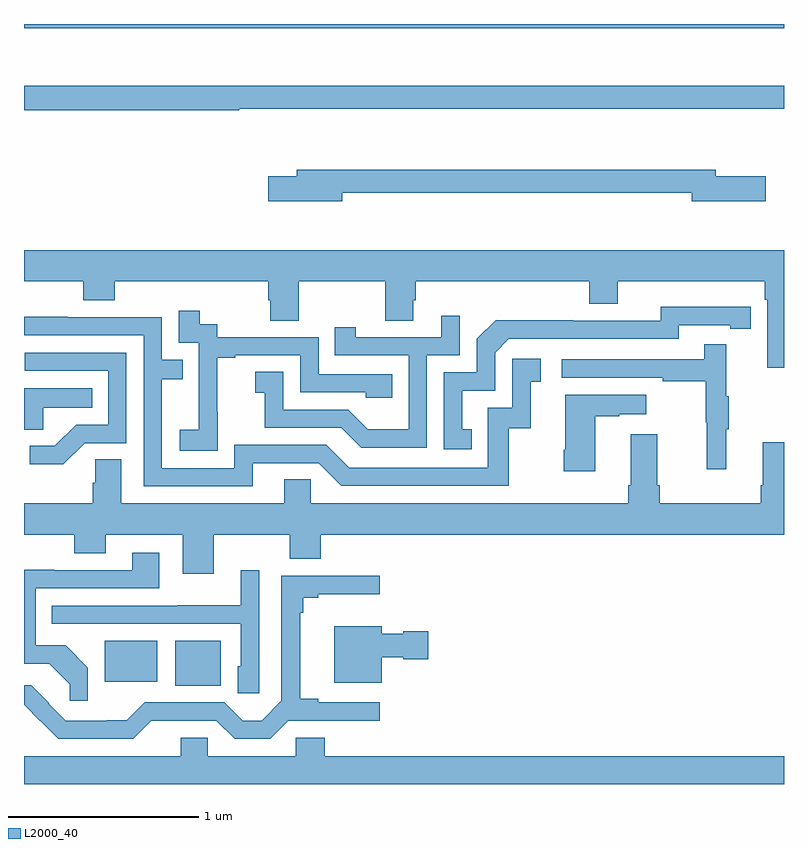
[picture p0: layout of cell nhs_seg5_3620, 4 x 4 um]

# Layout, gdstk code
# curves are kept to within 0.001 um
import gdstk
lib = gdstk.Library(unit=1e-6, precision=1e-09)
def R(c, l, rs):  # rectangles x0, y0, x1, y1
    for r in rs: c.add(gdstk.rectangle(r[:2], r[2:], *l))
def P(c, l, *ps):  # polygons
    for p in ps: c.add(gdstk.Polygon(p, *l))
L2000_40 = (2000, 40)

nhs_seg5_3620 = lib.new_cell('nhs_seg5_3620')
R(nhs_seg5_3620, L2000_40, [(325.796,837.317,326.035,837.553), (325.424,837.338,325.702,837.553), (325,840.776,329,840.799)])
P(nhs_seg5_3620, L2000_40, [(326.134,840.354),(329,840.354),(329,840.475),(325,840.475),(325,840.346),(326.134,840.346)],
  [(326.674,839.91),(328.514,839.91),(328.514,839.867),(328.903,839.867),(328.903,839.997),(328.642,839.997),(328.642,840.031),(326.435,840.031),(326.435,839.997),(326.286,839.997),(326.286,839.867),(326.674,839.867)],
  [(329,839.608),(325,839.608),(325,839.444),(325.313,839.444),(325.313,839.345),(325.478,839.345),(325.478,839.444),(326.285,839.444),(326.285,839.346),(326.297,839.346),(326.297,839.236),(326.445,839.236),(326.445,839.444),(326.902,839.444),(326.902,839.236),(327.049,839.236),(327.049,839.346),(327.062,839.346),(327.062,839.444),(327.974,839.444),(327.974,839.327),(328.126,839.327),(328.126,839.444),(328.898,839.444),(328.898,839.348),(328.911,839.348),(328.911,838.989),(329,838.989)],
  [(327.356,838.665),(327.307,838.665),(327.307,838.869),(327.48,838.869),(327.48,839.07),(327.552,839.142),(328.446,839.142),(328.446,839.214),(328.718,839.214),(328.718,839.194),(328.826,839.194),(328.826,839.31),(328.35,839.311),(328.35,839.238),(327.89,839.238),(327.89,839.24),(327.482,839.24),(327.384,839.142),(327.384,838.965),(327.21,838.965),(327.21,838.56),(327.356,838.56)],
  [(326.019,838.759),(326.018,838.759),(326.018,839.043),(326.113,839.043),(326.113,839.055),(326.454,839.055),(326.454,838.86),(326.799,838.86),(326.799,838.833),(326.939,838.833),(326.939,838.956),(326.55,838.956),(326.55,839.151),(326.016,839.151),(326.016,839.22),(325.924,839.22),(325.924,839.29),(325.815,839.29),(325.815,839.121),(325.92,839.121),(325.92,838.892),(325.919,838.892),(325.919,838.663),(325.821,838.663),(325.821,838.553),(326.019,838.553)],
  [(327.12,839.055),(327.294,839.055),(327.294,839.263),(327.197,839.263),(327.197,839.151),(326.746,839.151),(326.746,839.203),(326.635,839.203),(326.635,839.055),(327.024,839.055),(327.024,838.666),(326.81,838.666),(326.706,838.77),(326.364,838.77),(326.364,838.969),(326.217,838.969),(326.217,838.859),(326.266,838.859),(326.266,838.674),(326.669,838.674),(326.774,838.569),(327.12,838.569)],
  [(326.203,838.488),(326.55,838.488),(326.67,838.368),(327.55,838.368),(327.55,838.671),(327.668,838.671),(327.668,838.917),(327.721,838.917),(327.721,839.038),(327.57,839.038),(327.57,838.779),(327.441,838.779),(327.441,838.464),(326.712,838.464),(326.592,838.584),(326.106,838.584),(326.106,838.461),(325.725,838.461),(325.725,838.93),(325.835,838.93),(325.835,839.031),(325.725,839.031),(325.725,839.256),(325.229,839.256),(325.229,839.258),(325,839.258),(325,839.16),(325.629,839.16),(325.629,838.365),(326.203,838.365)],
  [(328.697,838.667),(328.708,838.667),(328.708,838.841),(328.697,838.841),(328.697,839.113),(328.579,839.113),(328.579,839.034),(327.831,839.034),(327.831,838.938),(328.363,838.938),(328.363,838.918),(328.587,838.918),(328.587,838.704),(328.594,838.704),(328.594,838.455),(328.697,838.455)],
  [(325.32,838.593),(325.539,838.593),(325.539,839.07),(325.005,839.07),(325.005,838.974),(325.443,838.974),(325.443,838.689),(325.274,838.689),(325.163,838.578),(325.029,838.578),(325.029,838.481),(325.207,838.481)],
  [(325.101,838.778),(325.358,838.778),(325.358,838.882),(325,838.882),(325,838.663),(325.101,838.663)],
  [(328.006,838.735),(328.133,838.735),(328.133,838.745),(328.276,838.745),(328.276,838.849),(327.848,838.849),(327.848,838.558),(327.841,838.558),(327.841,838.446),(328.006,838.446)],
  [(325.999,838.112),(326.399,838.112),(326.399,837.984),(326.563,837.984),(326.563,838.112),(329,838.112),(329,838.597),(328.889,838.597),(328.889,838.372),(328.877,838.372),(328.877,838.276),(328.346,838.276),(328.346,838.372),(328.333,838.372),(328.333,838.639),(328.193,838.639),(328.193,838.372),(328.181,838.372),(328.181,838.276),(326.508,838.276),(326.508,838.403),(326.369,838.403),(326.369,838.276),(325.513,838.276),(325.513,838.508),(325.374,838.508),(325.374,838.385),(325.361,838.385),(325.361,838.276),(325,838.276),(325,838.112),(325.265,838.112),(325.265,838.013),(325.429,838.013),(325.429,838.112),(325.835,838.112),(325.835,837.906),(325.999,837.906)],
  [(325.335,837.412),(325.219,837.528),(325.062,837.528),(325.062,837.828),(325.711,837.828),(325.711,838.015),(325.571,838.015),(325.571,837.924),(325.159,837.924),(325.159,837.926),(325,837.926),(325,837.432),(325.132,837.432),(325.24,837.324),(325.24,837.237),(325.335,837.237)],
  [(326.238,837.925),(326.141,837.925),(326.141,837.739),(325.807,837.739),(325.807,837.738),(325.147,837.738),(325.147,837.642),(326.142,837.642),(326.142,837.42),(326.126,837.42),(326.126,837.277),(326.238,837.277)],
  [(325.67,837.131),(326.013,837.132),(326.109,837.036),(326.296,837.036),(326.392,837.132),(326.872,837.131),(326.872,837.228),(326.548,837.228),(326.548,837.248),(326.453,837.248),(326.453,837.701),(326.471,837.701),(326.471,837.778),(326.548,837.778),(326.548,837.797),(326.872,837.797),(326.872,837.896),(326.659,837.896),(326.659,837.894),(326.355,837.894),(326.355,837.237),(326.251,837.133),(326.15,837.133),(326.055,837.228),(325.635,837.228),(325.541,837.134),(325.436,837.134),(325.436,837.132),(325.221,837.132),(325.131,837.222),(325.133,837.224),(325.039,837.318),(325,837.318),(325,837.215),(325.181,837.036),(325.575,837.036)],
  [(326.884,837.467),(326.997,837.467),(326.997,837.455),(327.127,837.455),(327.127,837.602),(326.997,837.602),(326.997,837.589),(326.884,837.589),(326.884,837.628),(326.633,837.628),(326.633,837.332),(326.884,837.332)],
  [(329,836.944),(326.582,836.944),(326.582,837.042),(326.43,837.042),(326.43,836.944),(325.968,836.944),(325.968,837.042),(325.826,837.042),(325.826,836.944),(325,836.944),(325,836.799),(329,836.799)])

lib.write_gds('nhs_seg5_3620.gds')
